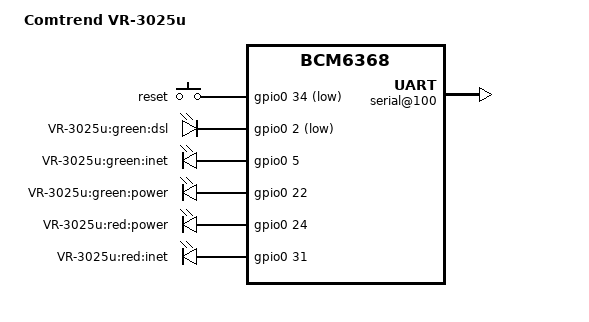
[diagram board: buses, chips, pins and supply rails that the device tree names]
/dts-v1/;

/*
 * Comtrend VR-3025u
 *
 * Copyright (C) 2014 Álvaro Fernández Rojas <noltari@gmail.com>
 *
 * This file is licensed under the terms of the GNU General Public License
 * version 2.  This program is licensed "as is" without any warranty of any
 * kind, whether express or implied.
 */

/include/ "bcm6368.dtsi"

/ {
	model = "Comtrend VR-3025u";
	compatible = "96368M-1541N";

	ubus@10000000 {
		gpio0: gpio@80 {
			status = "ok";
		};

		serial@100 {
			status = "ok";
		};
	};

	gpio-keys-polled {
		compatible = "gpio-keys-polled";
		#address-cells = <1>;
		#size-cells = <0>;
		poll-interval = <20>;
		reset {
			label = "reset";
			gpios = <&gpio0 34 1>;
			linux,code = <0x198>;
			debounce-interval = <60>;
		};
	};

	gpio-leds {
		compatible = "gpio-leds";
		dsl {
			label = "VR-3025u:green:dsl";
			gpios = <&gpio0 2 1>;
		};
		inet-green {
			label = "VR-3025u:green:inet";
			gpios = <&gpio0 5 0>;
		};
		power-green {
			label = "VR-3025u:green:power";
			gpios = <&gpio0 22 0>;
		};
		power-red {
			label = "VR-3025u:red:power";
			gpios = <&gpio0 24 0>;
		};
		inet-red {
			label = "VR-3025u:red:inet";
			gpios = <&gpio0 31 0>;
		};
	};
};
